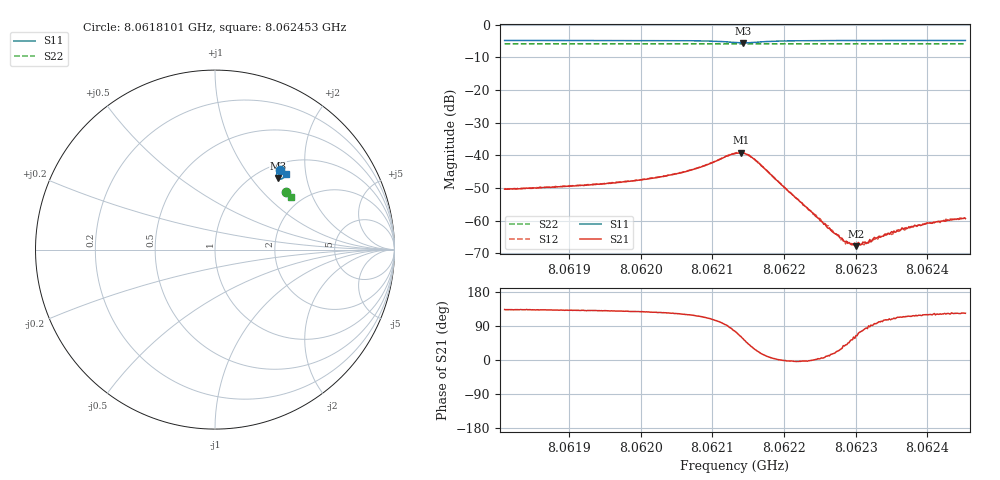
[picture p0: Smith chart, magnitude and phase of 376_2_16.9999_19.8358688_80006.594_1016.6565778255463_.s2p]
#  HZ  S  RI  R  50.00
! Rohde & Schwarz Vector Network Analyzer
! Rohde-Schwarz,ZNB20-2Port,1311601062101988,3.16
! Created: UTC 3/20/2024, 11:08:56 PM
! freq[Hz]  re:S11  im:S11  re:S21  im:S21  re:S12  im:S12  re:S22  im:S22
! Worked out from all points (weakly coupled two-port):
!   401 points, 8.0618101 GHz to 8.062453 GHz, reference 50 ohm
!   highest |S21| = -39.21 dB at 8.0621396 GHz (marker M1); lowest = -67.9 dB at 8.0623003 GHz (marker M2)
!   lowest |S11| = -5.5 dB at 8.0621428 GHz (marker M3), VSWR 3.25, Z = 62.2 + j68.5 ohm
!   |S11| at or under -10 dB: nowhere
!   |S22| runs from -5.9 to -5.8 dB; largest |S21 - S12| = 0.00083
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8.06181008e9  0.3649 0.4458  -0.00206 0.00221  -0.00196 0.00239  0.3978 0.3232
8.06191777e9  0.3724 0.4391  -0.00228 0.00261  -0.00213 0.00274  0.4016 0.3177
8.06202546e9  0.3809 0.4295  -0.00269 0.00377  -0.00249 0.00393  0.4059 0.312
8.0620785e9  0.3855 0.4187  -0.00278 0.00567  -0.00246 0.00587  0.4077 0.3091
8.06213154e9  0.3662 0.3925  0.00261 0.0103  0.00332 0.0103  0.4084 0.3055
8.06213958e9  0.3552 0.394  0.00509 0.00969  0.00576 0.00928  0.4082 0.3054
8.06214279e9  0.351 0.3965  0.00602 0.00896  0.00677 0.0086  0.4082 0.3056
8.06215244e9  0.3431 0.408  0.00756 0.00606  0.00798 0.00575  0.4083 0.3058
8.06216208e9  0.3432 0.42  0.00735 0.0033  0.00759 0.00287  0.4089 0.3058
8.06223923e9  0.3726 0.4344  0.00133 -1.33e-05  0.00129 -0.000117  0.4129 0.3024
8.06225852e9  0.3759 0.4334  0.00082 0.000145  0.000862 9.94e-05  0.4137 0.3012
8.06228263e9  0.3791 0.4317  0.000391 0.000306  0.000409 0.00026  0.4146 0.3001
8.06229227e9  0.3802 0.431  0.000278 0.000341  0.000307 0.000321  0.4149 0.2995
8.06230031e9  0.3811 0.4305  0.000173 0.000365  0.000235 0.000369  0.4152 0.2991
8.06230995e9  0.3822 0.4299  9.74e-05 0.000455  0.000109 0.000418  0.4157 0.2985
8.06231799e9  0.383 0.4294  -1.58e-06 0.000454  6.04e-05 0.000459  0.4159 0.2982
8.06232763e9  0.3838 0.4288  -5.49e-05 0.000534  -1.17e-05 0.000522  0.4163 0.2978
8.06234692e9  0.3854 0.4276  -0.000195 0.000583  -0.000135 0.00059  0.4169 0.2967
8.06236621e9  0.387 0.4264  -0.000305 0.000671  -0.000257 0.000704  0.4177 0.2956
8.06239514e9  0.3892 0.4247  -0.000429 0.000764  -0.000402 0.000778  0.4186 0.294
8.0624289e9  0.3915 0.4227  -0.000557 0.000854  -0.000497 0.000875  0.42 0.2924
8.062453e9  0.3932 0.4215  -0.000588 0.000895  -0.000541 0.00094  0.4207 0.2911
